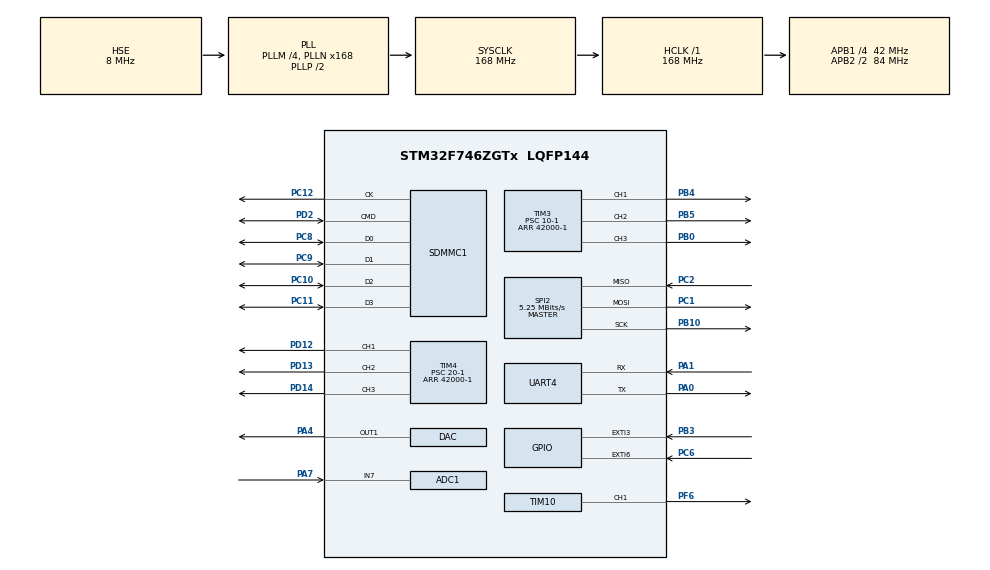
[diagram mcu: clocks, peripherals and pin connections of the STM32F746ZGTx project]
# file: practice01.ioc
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ADC1.Channel-6\#ChannelRegularConversion=ADC_CHANNEL_7
ADC1.NbrOfConversionFlag=1
ADC1.Rank-6\#ChannelRegularConversion=1
ADC1.SamplingTime-6\#ChannelRegularConversion=ADC_SAMPLETIME_3CYCLES
ADC1.master=1
CORTEX_M7.default_mode_Activation=1
Mcu.Family=STM32F7
Mcu.Name=STM32F746ZGTx
Mcu.Package=LQFP144
NVIC.EXTI3_IRQn=true\:0\:0\:false\:true\:true\:3\:true\:true\:true
NVIC.EXTI9_5_IRQn=true\:0\:0\:false\:true\:true\:4\:true\:true\:true
NVIC.PriorityGroup=NVIC_PRIORITYGROUP_4
NVIC.TIM7_IRQn=true\:0\:0\:false\:true\:true\:2\:true\:true\:true
NVIC.UART4_IRQn=true\:0\:0\:false\:true\:true\:1\:true\:true\:true
PA0/WKUP.Mode=Asynchronous
PA0/WKUP.Signal=UART4_TX
PA1.Mode=Asynchronous
PA1.Signal=UART4_RX
PA4.Signal=COMP_DAC1_group
PA7.Signal=ADCx_IN7
PB0.Signal=S_TIM3_CH3
PB10.Mode=Full_Duplex_Master
PB10.Signal=SPI2_SCK
PB3.Signal=GPXTI3
PB4.Signal=S_TIM3_CH1
PB5.Signal=S_TIM3_CH2
PC1.Mode=Full_Duplex_Master
PC1.Signal=SPI2_MOSI
PC10.Mode=mmc_4_bits_Wide_bus
PC10.Signal=SDMMC1_D2
PC11.Mode=mmc_4_bits_Wide_bus
PC11.Signal=SDMMC1_D3
PC12.Mode=mmc_4_bits_Wide_bus
PC12.Signal=SDMMC1_CK
PC2.Mode=Full_Duplex_Master
PC2.Signal=SPI2_MISO
PC6.Signal=GPXTI6
PC8.Mode=mmc_4_bits_Wide_bus
PC8.Signal=SDMMC1_D0
PC9.Mode=mmc_4_bits_Wide_bus
PC9.Signal=SDMMC1_D1
PD12.Signal=S_TIM4_CH1
PD13.Signal=S_TIM4_CH2
PD14.Signal=S_TIM4_CH3
PD2.Mode=mmc_4_bits_Wide_bus
PD2.Signal=SDMMC1_CMD
PF6.Signal=S_TIM10_CH1
PH0/OSC_IN.Mode=HSE-External-Oscillator
PH0/OSC_IN.Signal=RCC_OSC_IN
PH1/OSC_OUT.Mode=HSE-External-Oscillator
PH1/OSC_OUT.Signal=RCC_OSC_OUT
ProjectManager.HeapSize=0x200
ProjectManager.StackSize=0x400
ProjectManager.TargetToolchain=STM32CubeIDE
RCC.AHBFreq_Value=168000000
RCC.APB1CLKDivider=RCC_HCLK_DIV4
RCC.APB1Freq_Value=42000000
RCC.APB1TimFreq_Value=84000000
RCC.APB2CLKDivider=RCC_HCLK_DIV2
RCC.APB2Freq_Value=84000000
RCC.APB2TimFreq_Value=168000000
RCC.CortexFreq_Value=168000000
RCC.HCLKFreq_Value=168000000
RCC.HSE_VALUE=8000000
RCC.HSI_VALUE=16000000
RCC.LSE_VALUE=32768
RCC.PLLM=4
RCC.PLLN=168
RCC.PLLSourceVirtual=RCC_PLLSOURCE_HSE
RCC.SYSCLKFreq_VALUE=168000000
RCC.SYSCLKSource=RCC_SYSCLKSOURCE_PLLCLK
RCC.USBFreq_Value=168000000
RCC.VCOOutputFreq_Value=336000000
SH.ADCx_IN7.0=ADC1_IN7,IN7
SH.COMP_DAC1_group.0=DAC_OUT1,DAC_OUT1
SH.S_TIM10_CH1.0=TIM10_CH1,PWM Generation1 CH1
SH.S_TIM3_CH1.0=TIM3_CH1,PWM Generation1 CH1
SH.S_TIM3_CH2.0=TIM3_CH2,PWM Generation2 CH2
SH.S_TIM3_CH3.0=TIM3_CH3,PWM Generation3 CH3
SH.S_TIM4_CH1.0=TIM4_CH1,PWM Generation1 CH1
SH.S_TIM4_CH2.0=TIM4_CH2,PWM Generation2 CH2
SH.S_TIM4_CH3.0=TIM4_CH3,PWM Generation3 CH3
SPI2.BaudRatePrescaler=SPI_BAUDRATEPRESCALER_8
SPI2.CLKPhase=SPI_PHASE_2EDGE
SPI2.CLKPolarity=SPI_POLARITY_HIGH
SPI2.CalculateBaudRate=5.25 MBits/s
SPI2.DataSize=SPI_DATASIZE_8BIT
SPI2.Direction=SPI_DIRECTION_2LINES
SPI2.Mode=SPI_MODE_MASTER
SPI2.VirtualType=VM_MASTER
TIM10.Channel=TIM_CHANNEL_1
TIM3.Channel-PWM\ Generation1\ CH1=TIM_CHANNEL_1
TIM3.Channel-PWM\ Generation2\ CH2=TIM_CHANNEL_2
TIM3.Channel-PWM\ Generation3\ CH3=TIM_CHANNEL_3
TIM3.Period=42000-1
TIM3.Prescaler=10-1
TIM3.Pulse-PWM\ Generation1\ CH1=21000-1
TIM3.Pulse-PWM\ Generation2\ CH2=10500-1
TIM3.Pulse-PWM\ Generation3\ CH3=5250-1
TIM4.Channel-PWM\ Generation1\ CH1=TIM_CHANNEL_1
TIM4.Channel-PWM\ Generation2\ CH2=TIM_CHANNEL_2
TIM4.Channel-PWM\ Generation3\ CH3=TIM_CHANNEL_3
TIM4.Period=42000-1
TIM4.Prescaler=20-1
TIM4.Pulse-PWM\ Generation1\ CH1=21000-1
TIM4.Pulse-PWM\ Generation2\ CH2=10500-1
TIM4.Pulse-PWM\ Generation3\ CH3=5250-1
TIM7.Period=8399
TIM7.Prescaler=9999
UART4.DMADisableonRxErrorParam=UART_ADVFEATURE_DMA_DISABLEONRXERROR
UART4.Parity=PARITY_NONE
UART4.WordLength=WORDLENGTH_8B
VP_TIM10_VS_ClockSourceINT.Mode=Enable_Timer
VP_TIM11_VS_ClockSourceINT.Mode=Enable_Timer
VP_TIM3_VS_ClockSourceINT.Mode=Internal
VP_TIM4_VS_ClockSourceINT.Mode=Internal
VP_TIM7_VS_ClockSourceINT.Mode=Enable_Timer
board=custom

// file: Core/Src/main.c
/* USER CODE BEGIN Header */
/**
  ******************************************************************************
  * @file           : main.c
  * @brief          : Main program body
  ******************************************************************************
  * @attention
  *
  * Copyright (c) 2024 STMicroelectronics.
  * All rights reserved.
  *
  * This software is licensed under terms that can be found in the LICENSE file
  * in the root directory of this software component.
  * If no LICENSE file comes with this software, it is provided AS-IS.
  *
  ******************************************************************************
  */
/* USER CODE END Header */
#include "main.h"

ADC_HandleTypeDef hadc1;

DAC_HandleTypeDef hdac;

MMC_HandleTypeDef hmmc1;

SPI_HandleTypeDef hspi2;

TIM_HandleTypeDef htim3;
TIM_HandleTypeDef htim4;
TIM_HandleTypeDef htim7;
TIM_HandleTypeDef htim10;
TIM_HandleTypeDef htim11;

UART_HandleTypeDef huart4;

void SystemClock_Config(void);
static void MPU_Config(void);
static void MX_GPIO_Init(void);
static void MX_UART4_Init(void);
static void MX_TIM7_Init(void);
static void MX_TIM3_Init(void);
static void MX_TIM4_Init(void);
static void MX_TIM10_Init(void);
static void MX_ADC1_Init(void);
static void MX_DAC_Init(void);
static void MX_SDMMC1_MMC_Init(void);
static void MX_SPI2_Init(void);
static void MX_TIM11_Init(void);
static void MX_NVIC_Init(void);

int main(void)
{

  /* USER CODE BEGIN 1 */
	uint16_t adcval[4];
  /* USER CODE END 1 */

  /* MPU Configuration--------------------------------------------------------*/
  MPU_Config();

  /* MCU Configuration--------------------------------------------------------*/

  /* Reset of all peripherals, Initializes the Flash interface and the Systick. */
  HAL_Init();

  /* Configure the system clock */
  SystemClock_Config();

  /* Initialize all configured peripherals */
  MX_GPIO_Init();
  MX_UART4_Init();
  MX_TIM7_Init();
  MX_TIM3_Init();
  MX_TIM4_Init();
  MX_TIM10_Init();
  MX_ADC1_Init();
  MX_DAC_Init();
  MX_SDMMC1_MMC_Init();
  MX_SPI2_Init();
  MX_TIM11_Init();

  /* Initialize interrupts */
  MX_NVIC_Init();
  /* USER CODE BEGIN 2 */
  //HAL_UART_Receive_IT(&huart4, pData, Size);
  HAL_TIM_Base_Start_IT(&htim7);

  HAL_TIM_PWM_Start(&htim3, TIM_CHANNEL_1);
  HAL_TIM_PWM_Start(&htim3, TIM_CHANNEL_2);
  HAL_TIM_PWM_Start(&htim3, TIM_CHANNEL_3);

  HAL_TIM_PWM_Start(&htim4, TIM_CHANNEL_1);
  HAL_TIM_PWM_Start(&htim4, TIM_CHANNEL_2);
  HAL_TIM_PWM_Start(&htim4, TIM_CHANNEL_3);

  HAL_ADC_Start_DMA(&hadc1, &adcval[0], 4);

  HAL_DAC_Start_DMA(&hdac, DAC_CHANNEL_1);

  /* USER CODE END 2 */

  /* Infinite loop */
  /* USER CODE BEGIN WHILE */

  uint16_t ccr = 0;

  while (1)
  {
	  HAL_DAC_SetValue(&hdac, DAC_CHANNEL_1, DAC_ALIGN_12B_R, 2047);
	  //__HAL_TIM_SET_COMPARE(&htim4, TIM_CHANNEL_1, ccr);
	  TIM4->CCR1 = ccr;
	  ccr += 1000;
	  if(ccr > TIM4->ARR) ccr = 0;
	  HAL_Delay(50);

				//	  if(HAL_UART_Receive(&huart4, &a, 1, 10))
//	  {
//		  HAL_UART_Transmit(&huart4, &a, 1, 10);
//	  }
//
//	  //HAL_UART_Transmit_IT(&huart4, &Test_Tx_Buufer[0], 8);
//	  HAL_Delay(1000);
    /* USER CODE END WHILE */

  }
}

void SystemClock_Config(void)
{
  RCC_OscInitTypeDef RCC_OscInitStruct = {0};
  RCC_ClkInitTypeDef RCC_ClkInitStruct = {0};

  /** Configure the main internal regulator output voltage
  */
  __HAL_RCC_PWR_CLK_ENABLE();
  __HAL_PWR_VOLTAGESCALING_CONFIG(PWR_REGULATOR_VOLTAGE_SCALE2);

  /** Initializes the RCC Oscillators according to the specified parameters
  * in the RCC_OscInitTypeDef structure.
  */
  RCC_OscInitStruct.OscillatorType = RCC_OSCILLATORTYPE_HSE;
  RCC_OscInitStruct.HSEState = RCC_HSE_ON;
  RCC_OscInitStruct.PLL.PLLState = RCC_PLL_ON;
  RCC_OscInitStruct.PLL.PLLSource = RCC_PLLSOURCE_HSE;
  RCC_OscInitStruct.PLL.PLLM = 4;
  RCC_OscInitStruct.PLL.PLLN = 168;
  RCC_OscInitStruct.PLL.PLLP = RCC_PLLP_DIV2;
  RCC_OscInitStruct.PLL.PLLQ = 2;
  if (HAL_RCC_OscConfig(&RCC_OscInitStruct) != HAL_OK)
  {
    Error_Handler();
  }

  /** Initializes the CPU, AHB and APB buses clocks
  */
  RCC_ClkInitStruct.ClockType = RCC_CLOCKTYPE_HCLK|RCC_CLOCKTYPE_SYSCLK
                              |RCC_CLOCKTYPE_PCLK1|RCC_CLOCKTYPE_PCLK2;
  RCC_ClkInitStruct.SYSCLKSource = RCC_SYSCLKSOURCE_PLLCLK;
  RCC_ClkInitStruct.AHBCLKDivider = RCC_SYSCLK_DIV1;
  RCC_ClkInitStruct.APB1CLKDivider = RCC_HCLK_DIV4;
  RCC_ClkInitStruct.APB2CLKDivider = RCC_HCLK_DIV2;

  if (HAL_RCC_ClockConfig(&RCC_ClkInitStruct, FLASH_LATENCY_5) != HAL_OK)
  {
    Error_Handler();
  }
}

/**
  * @brief NVIC Configuration.
  * @retval None
  */
static void MX_NVIC_Init(void)
{
  /* UART4_IRQn interrupt configuration */
  HAL_NVIC_SetPriority(UART4_IRQn, 0, 0);
  HAL_NVIC_EnableIRQ(UART4_IRQn);
  /* TIM7_IRQn interrupt configuration */
  HAL_NVIC_SetPriority(TIM7_IRQn, 0, 0);
  HAL_NVIC_EnableIRQ(TIM7_IRQn);
  /* EXTI3_IRQn interrupt configuration */
  HAL_NVIC_SetPriority(EXTI3_IRQn, 0, 0);
  HAL_NVIC_EnableIRQ(EXTI3_IRQn);
  /* EXTI9_5_IRQn interrupt configuration */
  HAL_NVIC_SetPriority(EXTI9_5_IRQn, 0, 0);
  HAL_NVIC_EnableIRQ(EXTI9_5_IRQn);
}

static void MX_ADC1_Init(void)
{

  ADC_ChannelConfTypeDef sConfig = {0};

  /** Configure the global features of the ADC (Clock, Resolution, Data Alignment and number of conversion)
  */
  hadc1.Instance = ADC1;
  hadc1.Init.ClockPrescaler = ADC_CLOCK_SYNC_PCLK_DIV4;
  hadc1.Init.Resolution = ADC_RESOLUTION_12B;
  hadc1.Init.ScanConvMode = ADC_SCAN_DISABLE;
  hadc1.Init.ContinuousConvMode = DISABLE;
  hadc1.Init.DiscontinuousConvMode = DISABLE;
  hadc1.Init.ExternalTrigConvEdge = ADC_EXTERNALTRIGCONVEDGE_NONE;
  hadc1.Init.ExternalTrigConv = ADC_SOFTWARE_START;
  hadc1.Init.DataAlign = ADC_DATAALIGN_RIGHT;
  hadc1.Init.NbrOfConversion = 1;
  hadc1.Init.DMAContinuousRequests = DISABLE;
  hadc1.Init.EOCSelection = ADC_EOC_SINGLE_CONV;
  if (HAL_ADC_Init(&hadc1) != HAL_OK)
  {
    Error_Handler();
  }

  /** Configure for the selected ADC regular channel its corresponding rank in the sequencer and its sample time.
  */
  sConfig.Channel = ADC_CHANNEL_7;
  sConfig.Rank = ADC_REGULAR_RANK_1;
  sConfig.SamplingTime = ADC_SAMPLETIME_3CYCLES;
  if (HAL_ADC_ConfigChannel(&hadc1, &sConfig) != HAL_OK)
  {
    Error_Handler();
  }

}

static void MX_DAC_Init(void)
{

  DAC_ChannelConfTypeDef sConfig = {0};

  /** DAC Initialization
  */
  hdac.Instance = DAC;
  if (HAL_DAC_Init(&hdac) != HAL_OK)
  {
    Error_Handler();
  }

  /** DAC channel OUT1 config
  */
  sConfig.DAC_Trigger = DAC_TRIGGER_NONE;
  sConfig.DAC_OutputBuffer = DAC_OUTPUTBUFFER_ENABLE;
  if (HAL_DAC_ConfigChannel(&hdac, &sConfig, DAC_CHANNEL_1) != HAL_OK)
  {
    Error_Handler();
  }

}

static void MX_SDMMC1_MMC_Init(void)
{

  hmmc1.Instance = SDMMC1;
  hmmc1.Init.ClockEdge = SDMMC_CLOCK_EDGE_RISING;
  hmmc1.Init.ClockBypass = SDMMC_CLOCK_BYPASS_DISABLE;
  hmmc1.Init.ClockPowerSave = SDMMC_CLOCK_POWER_SAVE_DISABLE;
  hmmc1.Init.BusWide = SDMMC_BUS_WIDE_4B;
  hmmc1.Init.HardwareFlowControl = SDMMC_HARDWARE_FLOW_CONTROL_DISABLE;
  hmmc1.Init.ClockDiv = 0;
  if (HAL_MMC_Init(&hmmc1) != HAL_OK)
  {
    Error_Handler();
  }
  if (HAL_MMC_ConfigWideBusOperation(&hmmc1, SDMMC_BUS_WIDE_4B) != HAL_OK)
  {
    Error_Handler();
  }

}

static void MX_SPI2_Init(void)
{

  /* SPI2 parameter configuration*/
  hspi2.Instance = SPI2;
  hspi2.Init.Mode = SPI_MODE_MASTER;
  hspi2.Init.Direction = SPI_DIRECTION_2LINES;
  hspi2.Init.DataSize = SPI_DATASIZE_8BIT;
  hspi2.Init.CLKPolarity = SPI_POLARITY_HIGH;
  hspi2.Init.CLKPhase = SPI_PHASE_2EDGE;
  hspi2.Init.NSS = SPI_NSS_SOFT;
  hspi2.Init.BaudRatePrescaler = SPI_BAUDRATEPRESCALER_8;
  hspi2.Init.FirstBit = SPI_FIRSTBIT_MSB;
  hspi2.Init.TIMode = SPI_TIMODE_DISABLE;
  hspi2.Init.CRCCalculation = SPI_CRCCALCULATION_DISABLE;
  hspi2.Init.CRCPolynomial = 7;
  hspi2.Init.CRCLength = SPI_CRC_LENGTH_DATASIZE;
  hspi2.Init.NSSPMode = SPI_NSS_PULSE_DISABLE;
  if (HAL_SPI_Init(&hspi2) != HAL_OK)
  {
    Error_Handler();
  }

}

static void MX_TIM3_Init(void)
{

  TIM_ClockConfigTypeDef sClockSourceConfig = {0};
  TIM_MasterConfigTypeDef sMasterConfig = {0};
  TIM_OC_InitTypeDef sConfigOC = {0};

  htim3.Instance = TIM3;
  htim3.Init.Prescaler = 10-1;
  htim3.Init.CounterMode = TIM_COUNTERMODE_UP;
  htim3.Init.Period = 42000-1;
  htim3.Init.ClockDivision = TIM_CLOCKDIVISION_DIV1;
  htim3.Init.AutoReloadPreload = TIM_AUTORELOAD_PRELOAD_DISABLE;
  if (HAL_TIM_Base_Init(&htim3) != HAL_OK)
  {
    Error_Handler();
  }
  sClockSourceConfig.ClockSource = TIM_CLOCKSOURCE_INTERNAL;
  if (HAL_TIM_ConfigClockSource(&htim3, &sClockSourceConfig) != HAL_OK)
  {
    Error_Handler();
  }
  if (HAL_TIM_PWM_Init(&htim3) != HAL_OK)
  {
    Error_Handler();
  }
  sMasterConfig.MasterOutputTrigger = TIM_TRGO_RESET;
  sMasterConfig.MasterSlaveMode = TIM_MASTERSLAVEMODE_DISABLE;
  if (HAL_TIMEx_MasterConfigSynchronization(&htim3, &sMasterConfig) != HAL_OK)
  {
    Error_Handler();
  }
  sConfigOC.OCMode = TIM_OCMODE_PWM1;
  sConfigOC.Pulse = 21000-1;
  sConfigOC.OCPolarity = TIM_OCPOLARITY_HIGH;
  sConfigOC.OCFastMode = TIM_OCFAST_DISABLE;
  if (HAL_TIM_PWM_ConfigChannel(&htim3, &sConfigOC, TIM_CHANNEL_1) != HAL_OK)
  {
    Error_Handler();
  }
  sConfigOC.Pulse = 10500-1;
  if (HAL_TIM_PWM_ConfigChannel(&htim3, &sConfigOC, TIM_CHANNEL_2) != HAL_OK)
  {
    Error_Handler();
  }
  sConfigOC.Pulse = 5250-1;
  if (HAL_TIM_PWM_ConfigChannel(&htim3, &sConfigOC, TIM_CHANNEL_3) != HAL_OK)
  {
    Error_Handler();
  }
  HAL_TIM_MspPostInit(&htim3);

}

static void MX_TIM4_Init(void)
{

  TIM_ClockConfigTypeDef sClockSourceConfig = {0};
  TIM_MasterConfigTypeDef sMasterConfig = {0};
  TIM_OC_InitTypeDef sConfigOC = {0};

  htim4.Instance = TIM4;
  htim4.Init.Prescaler = 20-1;
  htim4.Init.CounterMode = TIM_COUNTERMODE_UP;
  htim4.Init.Period = 42000-1;
  htim4.Init.ClockDivision = TIM_CLOCKDIVISION_DIV1;
  htim4.Init.AutoReloadPreload = TIM_AUTORELOAD_PRELOAD_DISABLE;
  if (HAL_TIM_Base_Init(&htim4) != HAL_OK)
  {
    Error_Handler();
  }
  sClockSourceConfig.ClockSource = TIM_CLOCKSOURCE_INTERNAL;
  if (HAL_TIM_ConfigClockSource(&htim4, &sClockSourceConfig) != HAL_OK)
  {
    Error_Handler();
  }
  if (HAL_TIM_PWM_Init(&htim4) != HAL_OK)
  {
    Error_Handler();
  }
  sMasterConfig.MasterOutputTrigger = TIM_TRGO_RESET;
  sMasterConfig.MasterSlaveMode = TIM_MASTERSLAVEMODE_DISABLE;
  if (HAL_TIMEx_MasterConfigSynchronization(&htim4, &sMasterConfig) != HAL_OK)
  {
    Error_Handler();
  }
  sConfigOC.OCMode = TIM_OCMODE_PWM1;
  sConfigOC.Pulse = 21000-1;
  sConfigOC.OCPolarity = TIM_OCPOLARITY_HIGH;
  sConfigOC.OCFastMode = TIM_OCFAST_DISABLE;
  if (HAL_TIM_PWM_ConfigChannel(&htim4, &sConfigOC, TIM_CHANNEL_1) != HAL_OK)
  {
    Error_Handler();
  }
  sConfigOC.Pulse = 10500-1;
  if (HAL_TIM_PWM_ConfigChannel(&htim4, &sConfigOC, TIM_CHANNEL_2) != HAL_OK)
  {
    Error_Handler();
  }
  sConfigOC.Pulse = 5250-1;
  if (HAL_TIM_PWM_ConfigChannel(&htim4, &sConfigOC, TIM_CHANNEL_3) != HAL_OK)
  {
    Error_Handler();
  }
  HAL_TIM_MspPostInit(&htim4);

}

static void MX_TIM7_Init(void)
{

  TIM_MasterConfigTypeDef sMasterConfig = {0};

  htim7.Instance = TIM7;
  htim7.Init.Prescaler = 9999;
  htim7.Init.CounterMode = TIM_COUNTERMODE_UP;
  htim7.Init.Period = 8399;
  htim7.Init.AutoReloadPreload = TIM_AUTORELOAD_PRELOAD_DISABLE;
  if (HAL_TIM_Base_Init(&htim7) != HAL_OK)
  {
    Error_Handler();
  }
  sMasterConfig.MasterOutputTrigger = TIM_TRGO_RESET;
  sMasterConfig.MasterSlaveMode = TIM_MASTERSLAVEMODE_DISABLE;
  if (HAL_TIMEx_MasterConfigSynchronization(&htim7, &sMasterConfig) != HAL_OK)
  {
    Error_Handler();
  }

}

static void MX_TIM10_Init(void)
{

  TIM_OC_InitTypeDef sConfigOC = {0};

  htim10.Instance = TIM10;
  htim10.Init.Prescaler = 0;
  htim10.Init.CounterMode = TIM_COUNTERMODE_UP;
  htim10.Init.Period = 65535;
  htim10.Init.ClockDivision = TIM_CLOCKDIVISION_DIV1;
  htim10.Init.AutoReloadPreload = TIM_AUTORELOAD_PRELOAD_DISABLE;
  if (HAL_TIM_Base_Init(&htim10) != HAL_OK)
  {
    Error_Handler();
  }
  if (HAL_TIM_PWM_Init(&htim10) != HAL_OK)
  {
    Error_Handler();
  }
  sConfigOC.OCMode = TIM_OCMODE_PWM1;
  sConfigOC.Pulse = 0;
  sConfigOC.OCPolarity = TIM_OCPOLARITY_HIGH;
  sConfigOC.OCFastMode = TIM_OCFAST_DISABLE;
  if (HAL_TIM_PWM_ConfigChannel(&htim10, &sConfigOC, TIM_CHANNEL_1) != HAL_OK)
  {
    Error_Handler();
  }
  HAL_TIM_MspPostInit(&htim10);

}

static void MX_TIM11_Init(void)
{

  htim11.Instance = TIM11;
  htim11.Init.Prescaler = 0;
  htim11.Init.CounterMode = TIM_COUNTERMODE_UP;
  htim11.Init.Period = 65535;
  htim11.Init.ClockDivision = TIM_CLOCKDIVISION_DIV1;
  htim11.Init.AutoReloadPreload = TIM_AUTORELOAD_PRELOAD_DISABLE;
  if (HAL_TIM_Base_Init(&htim11) != HAL_OK)
  {
    Error_Handler();
  }

}

static void MX_UART4_Init(void)
{

  huart4.Instance = UART4;
  huart4.Init.BaudRate = 115200;
  huart4.Init.WordLength = UART_WORDLENGTH_8B;
  huart4.Init.StopBits = UART_STOPBITS_1;
  huart4.Init.Parity = UART_PARITY_NONE;
  huart4.Init.Mode = UART_MODE_TX_RX;
  huart4.Init.HwFlowCtl = UART_HWCONTROL_NONE;
  huart4.Init.OverSampling = UART_OVERSAMPLING_16;
  huart4.Init.OneBitSampling = UART_ONE_BIT_SAMPLE_DISABLE;
  huart4.AdvancedInit.AdvFeatureInit = UART_ADVFEATURE_DMADISABLEONERROR_INIT;
  huart4.AdvancedInit.DMADisableonRxError = UART_ADVFEATURE_DMA_DISABLEONRXERROR;
  if (HAL_UART_Init(&huart4) != HAL_OK)
  {
    Error_Handler();
  }

}

static void MX_GPIO_Init(void)
{
  GPIO_InitTypeDef GPIO_InitStruct = {0};

  /* GPIO Ports Clock Enable */
  __HAL_RCC_GPIOF_CLK_ENABLE();
  __HAL_RCC_GPIOH_CLK_ENABLE();
  __HAL_RCC_GPIOC_CLK_ENABLE();
  __HAL_RCC_GPIOA_CLK_ENABLE();
  __HAL_RCC_GPIOB_CLK_ENABLE();
  __HAL_RCC_GPIOD_CLK_ENABLE();

  /*Configure GPIO pin : PC6 */
  GPIO_InitStruct.Pin = GPIO_PIN_6;
  GPIO_InitStruct.Mode = GPIO_MODE_IT_RISING;
  GPIO_InitStruct.Pull = GPIO_NOPULL;
  HAL_GPIO_Init(GPIOC, &GPIO_InitStruct);

  /*Configure GPIO pin : PB3 */
  GPIO_InitStruct.Pin = GPIO_PIN_3;
  GPIO_InitStruct.Mode = GPIO_MODE_IT_RISING;
  GPIO_InitStruct.Pull = GPIO_NOPULL;
  HAL_GPIO_Init(GPIOB, &GPIO_InitStruct);

}

/* USER CODE BEGIN 4 */
void HAL_GPIO_EXTI_Callback(uint16_t GPIO_Pin)
{
	//if(GPIO_Pin == GPIO_PIN_3){}
}
/* USER CODE END 4 */

 /* MPU Configuration */

void MPU_Config(void)
{
  MPU_Region_InitTypeDef MPU_InitStruct = {0};

  /* Disables the MPU */
  HAL_MPU_Disable();

  /** Initializes and configures the Region and the memory to be protected
  */
  MPU_InitStruct.Enable = MPU_REGION_ENABLE;
  MPU_InitStruct.Number = MPU_REGION_NUMBER0;
  MPU_InitStruct.BaseAddress = 0x0;
  MPU_InitStruct.Size = MPU_REGION_SIZE_4GB;
  MPU_InitStruct.SubRegionDisable = 0x87;
  MPU_InitStruct.TypeExtField = MPU_TEX_LEVEL0;
  MPU_InitStruct.AccessPermission = MPU_REGION_NO_ACCESS;
  MPU_InitStruct.DisableExec = MPU_INSTRUCTION_ACCESS_DISABLE;
  MPU_InitStruct.IsShareable = MPU_ACCESS_SHAREABLE;
  MPU_InitStruct.IsCacheable = MPU_ACCESS_NOT_CACHEABLE;
  MPU_InitStruct.IsBufferable = MPU_ACCESS_NOT_BUFFERABLE;

  HAL_MPU_ConfigRegion(&MPU_InitStruct);
  /* Enables the MPU */
  HAL_MPU_Enable(MPU_PRIVILEGED_DEFAULT);

}

void Error_Handler(void)
{
  __disable_irq();
  while (1)
  {
  }
}
